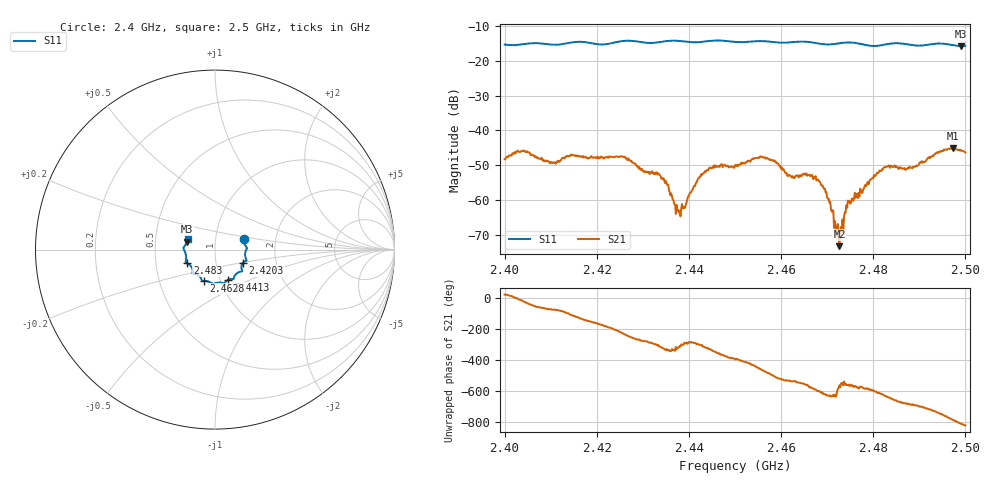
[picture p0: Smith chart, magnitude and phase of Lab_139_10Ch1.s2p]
# Hz S RI R 50
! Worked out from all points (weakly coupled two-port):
!   601 points, 2.4 GHz to 2.5 GHz, reference 50 ohm
!   highest |S21| = -45.18 dB at 2.4973 GHz (marker M1); lowest = -73.2 dB at 2.4727 GHz (marker M2)
!   lowest |S11| = -15.8 dB at 2.499 GHz (marker M3), VSWR 1.39, Z = 36.4 + j3.36 ohm
!   |S11| at or under -10 dB: start of sweep to end of sweep
!   S12 and S22 are empty: the file has one direction only
!   S11 on the Smith chart (normalised r, x): 2.4 GHz: 1.37, +0.16; 2.4203 GHz: 1.35, -0.21; 2.4413 GHz: 1.09, -0.38; 2.4628 GHz: 0.83, -0.30; 2.483 GHz: 0.72, -0.11; 2.5 GHz: 0.73, +0.09
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2.4e9  0.1607 0.057  0.00359 0.00144  0 0  0 0
2.404e9  0.1714 0.0182  0.00472 -0.00182  0 0  0 0
2.416667e9  0.1761 -0.0615  -0.00293 -0.00307  0 0  0 0
2.420333e9  0.1553 -0.074  -0.00387 -0.00081  0 0  0 0
2.425667e9  0.1513 -0.118  -0.00278 0.00311  0 0  0 0
2.433333e9  0.1081 -0.1485  0.00132 0.00203  0 0  0 0
2.437667e9  0.1011 -0.1641  0.000564 0.000456  0 0  0 0
2.441333e9  0.0745 -0.168  0.000545 0.00149  0 0  0 0
2.445e9  0.0525 -0.1864  0.00269 0.00114  0 0  0 0
2.45e9  0.0293 -0.1838  0.00262 -0.00179  0 0  0 0
2.456e9  -0.012 -0.1905  -0.00116 -0.00402  0 0  0 0
2.462833e9  -0.063 -0.1747  -0.00206 -0.00014  0 0  0 0
2.466667e9  -0.0742 -0.1676  -0.00178 0.00147  0 0  0 0
2.469333e9  -0.0866 -0.1485  -0.000298 0.00142  0 0  0 0
2.472667e9  -0.116 -0.1347  -0.0002 8.74e-05  0 0  0 0
2.475e9  -0.1251 -0.1334  -0.000789 0.00041  0 0  0 0
2.483e9  -0.1547 -0.0767  0.000327 0.00303  0 0  0 0
2.483333e9  -0.1569 -0.0758  0.000648 0.00306  0 0  0 0
2.488667e9  -0.1606 -0.0451  0.0026 0.00152  0 0  0 0
2.497333e9  -0.1649 0.0261  0.0022 -0.00505  0 0  0 0
2.499e9  -0.1554 0.0449  -0.0001 -0.00528  0 0  0 0
2.5e9  -0.1526 0.0585  -0.00101 -0.00472  0 0  0 0
